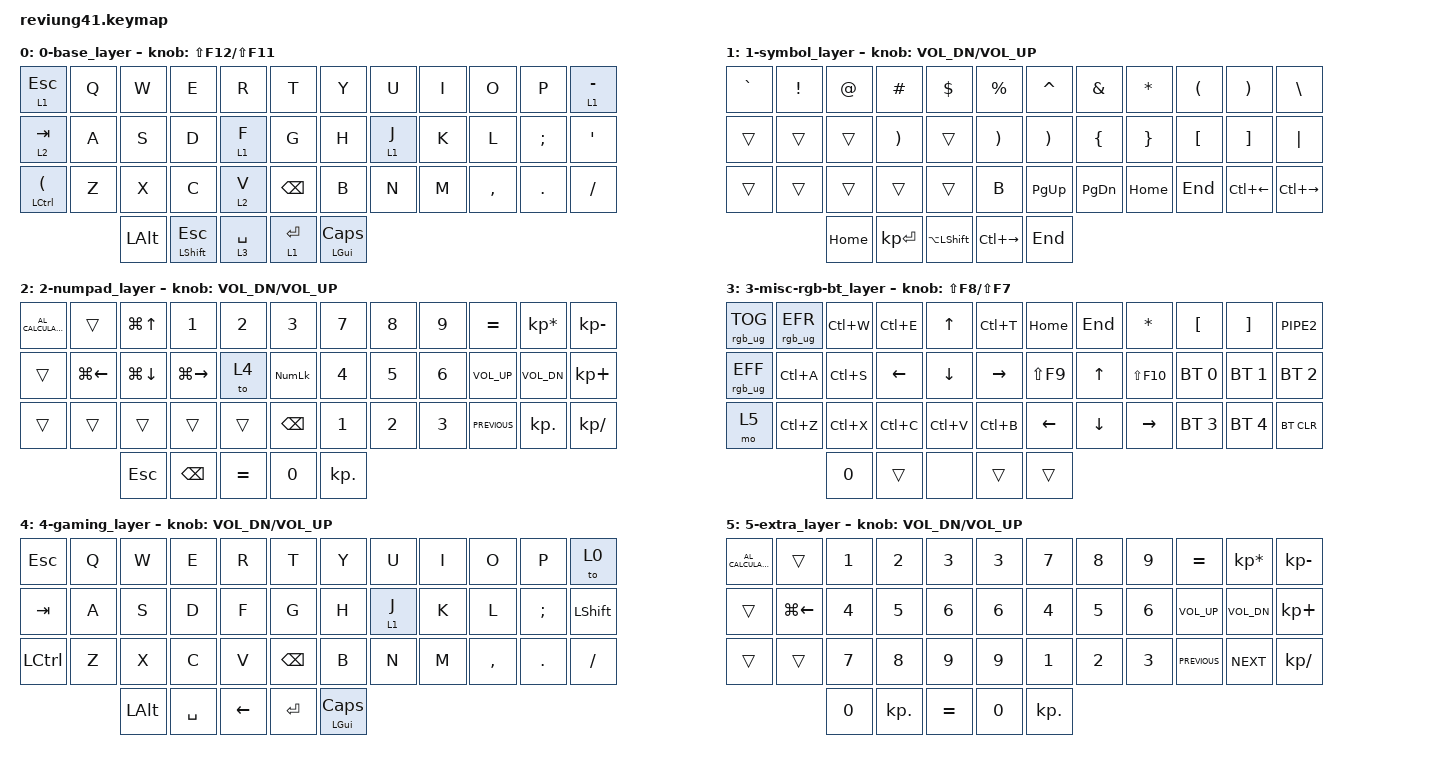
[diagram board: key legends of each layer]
/*
 * Copyright (c) 2020 The ZMK Contributors
 *
 * SPDX-License-Identifier: MIT
 */

#include <behaviors.dtsi>
#include <dt-bindings/zmk/keys.h>
#include <dt-bindings/zmk/bt.h>
#include <dt-bindings/zmk/rgb.h>
#include <dt-bindings/zmk/ext_power.h>
#include <dt-bindings/zmk/mouse.h>
#include <dt-bindings/zmk/led/led.h>

#define DEFAULT 0-base
#define LOWER   1-symbol
#define RAISE   2-numpad
#define ADJUST  3-misc-rgb-bt
#define GAMING  4-gaming
#define EXTRA   5-extra

&spi1 {
	compatible = "nordic,nrf-spim";
	status = "okay";
	mosi-pin = <6>;
	// Unused pins, needed for SPI definition, but not used by the ws2812 driver itself.
	sck-pin = <5>;
	miso-pin = <7>;

	led_strip: ws2812@0 {
		compatible = "worldsemi,ws2812-spi";
		label = "WS2812";

		/* SPI */
		reg = <0>; /* ignored, but necessary for SPI bindings */
		spi-max-frequency = <4000000>;

		/* WS2812 */
		chain-length = <11>; /* arbitrary; change at will */
		spi-one-frame = <0x70>;
		spi-zero-frame = <0x40>;
		color-mapping = <LED_COLOR_ID_GREEN
							LED_COLOR_ID_RED
							LED_COLOR_ID_BLUE>;
						
	};
};

/ {
	chosen {
		zmk,underglow = &led_strip;
	};
};

&encoder_1 {
    status = "okay";
};

/ {
    sensors {
        compatible = "zmk,keymap-sensors";
        sensors = <&encoder_1>;
    };
};




/ {
        keymap {
                compatible = "zmk,keymap";
				



                  0-base_layer {
// -------------------------------------------------------------------------------------
// | LT(1) ESC   |  Q  |  W  |  E  |  R  |  T  |                 |  Y  |      U     |  I  |  O  |  P  |  LT(1) -  |
// | LT(2) TAB   |  A  |  S  |  D  |  LT(1)F  |  G  |                 |  H  |  LT(1) J   |  K  |  L  |  ;  |     '     |
// | LCTRL(LPAR) |  Z  |  X  |  C  |  V  |BSPC |                 |  B  |      N     |  M  |  ,  |  .  |     /     |
//                           | ALT | LSHFT(ESC)|    LT (3) SPC   |  LT (1) ENT  | GUI(CAPSLOCK) |
                        bindings = <
   &lt 1 ESC      &kp Q &kp W &kp E &kp R &kp T             &kp Y &kp U    &kp I     &kp O     &kp P     &lt 1 MINUS
   &lt 2 TAB      &kp A &kp S &kp D &lt 1 F &kp G             &kp H &lt 1 J  &kp K     &kp L     &kp SEMI  &kp SQT
   &mt LCTRL LPAR &kp Z &kp X &kp C &lt 2 V &kp BSPC          &kp B &kp N    &kp M     &kp COMMA &kp DOT   &kp FSLH
                        &kp LALT  &mt LSHIFT ESC   &lt 3 SPACE  &lt 1 RET  &mt LGUI CAPS
                        >;
            sensor-bindings = <&inc_dec_kp LS(F12) LS(F11)>;

                };

                1-symbol_layer {
// ----------------------------------------------------------------------------------
// | ~  |  !  |  @  |  #  |  $  |  %  |       |  ^  |  &  |  *  |  (  |  )  |  \  |
// |    |     |     |  )  |     |  )  |       | )   |  {  |  }  |  [  |  ]  |  |  |
// |    |     |     |     |     | B |       | pgup| pgdn| Home| End | c(←)| c(→)|
//              |  HOME  | NumpadENT  |CHINESE|   |   END  |
                        bindings = <
   &kp GRAVE &kp EXCL  &kp AT      &kp HASH     &kp DLLR  &kp PRCNT     &kp CARET &kp AMPS  &kp ASTERISK  &kp LPAR           &kp RPAR             &kp BACKSLASH
   &trans    &trans   &trans      &kp RPAR       &trans    &kp RPAR        &kp RPAR  &kp LBRC  &kp RBRC      &kp LEFT_BRACKET   &kp RIGHT_BRACKET    &kp PIPE    
   &trans    &trans    &trans      &trans       &trans    &kp B       &kp PG_UP &kp PG_DN &kp HOME      &kp END            &kp LC(LEFT_ARROW)   &kp LC(RIGHT_ARROW)
                              &kp HOME          &kp KP_ENTER      &kp LA(LSHIFT)    &kp LC(RIGHT_ARROW)       &kp END
                        >;
            sensor-bindings = <&inc_dec_kp C_VOL_DN C_VOL_UP>;

                };

                2-numpad_layer {
// -----------------------------------------------------------------------------------------
// |CALC|        |  G(UP)  |     1   |   2  | 3|         | 7  | 8  |  9 |  =  |  *  | - |
// |    | G(LEFT)| G(DOWN) |G(RIGHT)| TO(4) |    NUMLOCK    |         | 4  | 5  | 6  | Vup | Vdn | + |
// |    |        |         |        |     |      BSPC     |         | 1  | 2  | 3  | Vpv | . | / |
//                              | ESC | BSPC  | EQUAL | 0   |  .   |
                        bindings = <
   &kp C_AL_CALCULATOR  &trans       &kp LG(UP)    &kp N1   &kp N2    &kp N3        	 	 &kp N7   &kp N8    &kp N9    &kp EQUAL      &kp KP_MULTIPLY    &kp KP_MINUS
   &trans               &kp LG(LEFT) &kp LG(DOWN)  &kp LG(RIGHT)  &to 4  &kp KP_NUM        &kp N4   &kp N5    &kp N6    &kp C_VOL_UP   &kp C_VOL_DN       &kp KP_PLUS
   &trans               &trans       &trans        &trans         &trans  &kp BSPC      	 &kp N1   &kp N2    &kp N3    &kp C_PREVIOUS &kp KP_DOT         &kp KP_DIVIDE
                                &kp ESC      &kp BSPC      &kp  EQUAL        &kp N0      &kp KP_DOT
                        >;
            sensor-bindings = <&inc_dec_kp C_VOL_DN C_VOL_UP>;

                };

                3-misc-rgb-bt_layer {
// -----------------------------------------------------------------------------------------
// | RGB TOG  |  1  |  C(W)  | C(E)  |  UP     |   C(T)         |   |      HOME  |    END |    *         |   [    |    ]   |     |    |
// | RGB ANI+ |  C(A)  |  C(S)  | LEFT |  DOWN  |  RIGHT |   | S(F9) |  UP    |  S(F10) |   BT1  |  BT2   |    BT3   |
// | MO(5) |  C(Z)  |  C(X)  |    C(C)    |  C(V)  |     C(B)    |   |    LEFT    |  DOWN  |     RIGHT    | BT4    |  BT5   |  BT CLR  |
//                                              |    0    |              |   |        |     |
                        bindings = <
   &rgb_ug RGB_TOG        &rgb_ug RGB_EFR   &kp LC(W)  &kp LC(E)               &kp UP    &kp LC(T)                        &kp HOME             &kp END   &kp ASTERISK            &kp LEFT_BRACKET &kp RIGHT_BRACKET &kp PIPE2 
   &rgb_ug RGB_EFF        &kp LC(A)   &kp LC(S)  &kp LEFT   &kp DOWN    &kp RIGHT           &kp LS(F9)   &kp UP    &kp LS(F10)     &bt BT_SEL 0     &bt BT_SEL 1      &bt BT_SEL 2
   &mo 5        &kp LC(Z)   &kp LC(X)  &kp LC(C)  &kp LC(V)  &kp LC(B)                     &kp LEFT             &kp DOWN  &kp RIGHT               &bt BT_SEL 3     &bt BT_SEL 4      &bt BT_CLR
                                                                     &kp N0      &trans       &none      &trans      &trans
                        >;
            sensor-bindings = <&inc_dec_kp LS(F8) LS(F7)>;

                };
                
                      4-gaming_layer {
// -------------------------------------------------------------------------------------
// | ESC   |  Q  |  W  |  E  |  R  |  T  |                 |  Y  |      U     |  I  |  O  |  P  | To LAYER 0  |
// | TAB   |  A  |  S  |  D  |  F  |  G  |                 |  H  |    lt(1)J  |  K  |  L  |  ;  |  shift  |
// | LCTRL |  Z  |  X  |  C  |  V  |BSPC |                 |  B  |      N     |  M  |  ,  |  .  | / |
//                           | ALT |  SPC |  LEFT ARROW  |  ENT  | GUI(CAPSLOCK) |
                        bindings = <
   &kp ESC      &kp Q &kp W &kp E &kp R &kp T             &kp Y &kp U    &kp I     &kp O     &kp P     &to 0
   &kp TAB      &kp A &kp S &kp D &kp F &kp G             &kp H &lt 1 J  &kp K     &kp L     &kp SEMI  &kp LSHIFT
   &kp LCTRL    &kp Z &kp X &kp C &kp V &kp BSPC          &kp B &kp N    &kp M     &kp COMMA &kp DOT  &kp FSLH
                        &kp LALT  &kp SPACE  &kp LEFT  &kp RET  &mt LGUI CAPS       
                
                        >;
            sensor-bindings = <&inc_dec_kp C_VOL_DN C_VOL_UP>;

                };

                5-extra_layer {
// -----------------------------------------------------------------------------------------
// |CALC|        |  G(UP)  |   1   |   2   |   3   |         | 7  | 8  |  9 |  =  |  *  | - |
// |    | G(LEFT)| G(DOWN) |   4   |   5   |   6   |         | 4  | 5  | 6  | Vup | Vdn | + |
// |    |        |         |   7   |   8   |   9   |         | 1  | 2  | 3  | Vpv | Vnx | / |
//                              | 0 | . | EQUAL | 0   |  .   |
                        bindings = <
   &kp C_AL_CALCULATOR  &trans       &kp N1   &kp N2    &kp N3    &kp N3        	 	 &kp N7   &kp N8    &kp N9    &kp EQUAL      &kp KP_MULTIPLY    &kp KP_MINUS
   &trans               &kp LG(LEFT) &kp N4   &kp N5    &kp N6    &kp N6        &kp N4   &kp N5    &kp N6    &kp C_VOL_UP   &kp C_VOL_DN       &kp KP_PLUS
   &trans               &trans       &kp N7   &kp N8    &kp N9    &kp N9      	 &kp N1   &kp N2    &kp N3    &kp C_PREVIOUS &kp C_NEXT         &kp KP_DIVIDE
                                &kp N0      &kp KP_DOT      &kp  EQUAL        &kp N0      &kp KP_DOT
                        >;
            sensor-bindings = <&inc_dec_kp C_VOL_DN C_VOL_UP>;

                };
            
                
                
             

        };
};
